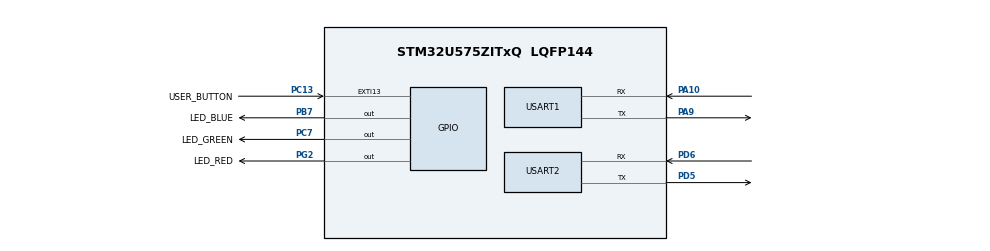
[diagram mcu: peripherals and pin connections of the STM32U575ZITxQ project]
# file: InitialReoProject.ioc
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CORTEX_M33_NS.userName=CORTEX_M33
Mcu.Family=STM32U5
Mcu.Name=STM32U575ZITxQ
Mcu.Package=LQFP144
NVIC.PriorityGroup=NVIC_PRIORITYGROUP_3
NVIC.TIM17_IRQn=true\:7\:0\:false\:false\:true\:false\:true\:true
NVIC.TimeBase=TIM17_IRQn
NVIC.TimeBaseIP=TIM17
NVIC.USART1_IRQn=true\:0\:0\:false\:false\:true\:true\:true\:true
NVIC.USART2_IRQn=true\:0\:0\:false\:false\:true\:true\:true\:true
PA10.Mode=Asynchronous
PA10.Signal=USART1_RX
PA13\ (JTMS/SWDIO).Signal=DEBUG_JTMS-SWDIO
PA14\ (JTCK/SWCLK).Signal=DEBUG_JTCK-SWCLK
PA9.Mode=Asynchronous
PA9.Signal=USART1_TX
PB3\ (JTDO/TRACESWO).Signal=DEBUG_JTDO-SWO
PB7.GPIO_Label=LED_BLUE
PB7.Signal=GPIO_Output
PC13.GPIO_Label=USER_BUTTON
PC13.Signal=GPXTI13
PC14-OSC32_IN\ (PC14).Signal=RCC_OSC32_IN
PC15-OSC32_OUT\ (PC15).Signal=RCC_OSC32_OUT
PC7.GPIO_Label=LED_GREEN
PC7.Signal=GPIO_Output
PD5.Mode=Asynchronous
PD5.Signal=USART2_TX
PD6.Mode=Asynchronous
PD6.Signal=USART2_RX
PG2.GPIO_Label=LED_RED
PG2.Signal=GPIO_Output
PWR.PowerMode=PWR_SMPS_SUPPLY
ProjectManager.HeapSize=0x200
ProjectManager.StackSize=0x400
ProjectManager.TargetToolchain=STM32CubeIDE
RCC.ADCFreq_Value=16000000
RCC.DACCLockSelectionVirtual=RCC_DAC1CLKSOURCE_LSI
RCC.EPOD_VALUE=4000000
RCC.HSE_VALUE=16000000
RCC.HSI48_VALUE=48000000
RCC.HSI_VALUE=16000000
RCC.LSE_VALUE=32768
RCC.LSIDIV_VALUE=32000
RCC.MSI_VALUE=4000000
RCC.USBFreq_Value=48000000
RCC.VCOOutputFreq_Value=516000000
USART1.VirtualMode-Asynchronous=VM_ASYNC
USART2.VirtualMode-Asynchronous=VM_ASYNC
VP_ICACHE_VS_ENABLE_ICACHE_MEMORY.Mode=Memoryregions
VP_ICACHE_VS_ICACHE.Mode=DirectMappedCache
VP_LPBAMQUEUE_VS_QUEUE.Mode=QUEUEMODE
VP_LPBAM_VS_SIG1.Mode=SmartRun
VP_LPBAM_VS_SIG4.Mode=LPDMA1
VP_MEMORYMAP_VS_MEMORYMAP.Mode=CurAppReg
VP_PWR_VS_DBSignals.Mode=DisableDeadBatterySignals
VP_PWR_VS_LPOM.Mode=PowerOptimisation
VP_PWR_VS_SECSignals.Mode=Security/Privilege
VP_SYS_VS_tim17.Mode=TIM17
board=NUCLEO-U575ZI-Q

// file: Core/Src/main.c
/* USER CODE BEGIN Header */
/**
  ******************************************************************************
  * @file           : main.c
  * @brief          : Main program body
  ******************************************************************************
  * @attention
  *
  * Copyright (c) 2026 STMicroelectronics.
  * All rights reserved.
  *
  * This software is licensed under terms that can be found in the LICENSE file
  * in the root directory of this software component.
  * If no LICENSE file comes with this software, it is provided AS-IS.
  *
  ******************************************************************************
  */
/* USER CODE END Header */
#include "main.h"

/* USER CODE BEGIN Includes */
#include <stdlib.h>
#include <string.h>
#include <stdio.h>
#include <stdbool.h>
/* USER CODE END Includes */

UART_HandleTypeDef huart1;
UART_HandleTypeDef huart2;

/* USER CODE BEGIN PV */
#define RX_SIZE 10

uint8_t rxData[RX_SIZE];

volatile uint8_t dataReady = 0;
/* USER CODE END PV */

void SystemClock_Config(void);
static void SystemPower_Config(void);
static void MX_GPIO_Init(void);
static void MX_ICACHE_Init(void);
static void MX_USART2_UART_Init(void);
static void MX_USART1_UART_Init(void);

int main(void)
{

  /* MCU Configuration--------------------------------------------------------*/

  /* Reset of all peripherals, Initializes the Flash interface and the Systick. */
  HAL_Init();

  /* Configure the System Power */
  SystemPower_Config();

  /* Configure the system clock */
  SystemClock_Config();

  /* Initialize all configured peripherals */
  MX_GPIO_Init();
  MX_ICACHE_Init();
  MX_USART2_UART_Init();
  MX_USART1_UART_Init();
  /* USER CODE BEGIN 2 */
  HAL_UART_Receive_IT(&huart2, rxData, 10);

	void clearScreen(){
		HAL_UART_Transmit(&huart1, "\033[2J\033[H", strlen((char*) "\033[2J\033[H"), 10);
	}
  /* USER CODE END 2 */

  /* Infinite loop */
  /* USER CODE BEGIN WHILE */
  while (1)
  {
	  //From interrupt
	  if (dataReady)
	  {
		  //Resets dataReady
	      dataReady = 0;

	      //Sets string to 11 char array because of null terminator
	      char numberString[11];
	      //Intialized txBuffer
	      char txBuffer[64];
	      //Copies rxData to numberString
	      memcpy(numberString, rxData, 10);

	      //Adds a null terminator to end of array because atoi expects it
	      numberString[10] = '\0';

	      //Converts to an int
	      int numberOfHoles = atoi(numberString);

	      //Writes string to txBuffer
	      snprintf(txBuffer, sizeof(txBuffer),
	               "Number of Holes: %d\r\n",
	               numberOfHoles);

	      //Sends Number of Holes to displayed
	      HAL_UART_Transmit(&huart1,
	                        (uint8_t *)txBuffer,
	                        strlen(txBuffer),
	                        HAL_MAX_DELAY);

	      //Resets Receive
	      //
	      HAL_UART_Receive_IT(&huart2, rxData, RX_SIZE);

	      clearScreen();
	  }
    /* USER CODE END WHILE */

  }
}

void SystemClock_Config(void)
{
  RCC_OscInitTypeDef RCC_OscInitStruct = {0};
  RCC_ClkInitTypeDef RCC_ClkInitStruct = {0};

  /** Configure the main internal regulator output voltage
  */
  if (HAL_PWREx_ControlVoltageScaling(PWR_REGULATOR_VOLTAGE_SCALE4) != HAL_OK)
  {
    Error_Handler();
  }

  /** Initializes the CPU, AHB and APB buses clocks
  */
  RCC_OscInitStruct.OscillatorType = RCC_OSCILLATORTYPE_MSI;
  RCC_OscInitStruct.MSIState = RCC_MSI_ON;
  RCC_OscInitStruct.MSICalibrationValue = RCC_MSICALIBRATION_DEFAULT;
  RCC_OscInitStruct.MSIClockRange = RCC_MSIRANGE_4;
  RCC_OscInitStruct.PLL.PLLState = RCC_PLL_NONE;
  if (HAL_RCC_OscConfig(&RCC_OscInitStruct) != HAL_OK)
  {
    Error_Handler();
  }

  /** Initializes the CPU, AHB and APB buses clocks
  */
  RCC_ClkInitStruct.ClockType = RCC_CLOCKTYPE_HCLK|RCC_CLOCKTYPE_SYSCLK
                              |RCC_CLOCKTYPE_PCLK1|RCC_CLOCKTYPE_PCLK2
                              |RCC_CLOCKTYPE_PCLK3;
  RCC_ClkInitStruct.SYSCLKSource = RCC_SYSCLKSOURCE_MSI;
  RCC_ClkInitStruct.AHBCLKDivider = RCC_SYSCLK_DIV1;
  RCC_ClkInitStruct.APB1CLKDivider = RCC_HCLK_DIV1;
  RCC_ClkInitStruct.APB2CLKDivider = RCC_HCLK_DIV1;
  RCC_ClkInitStruct.APB3CLKDivider = RCC_HCLK_DIV1;

  if (HAL_RCC_ClockConfig(&RCC_ClkInitStruct, FLASH_LATENCY_0) != HAL_OK)
  {
    Error_Handler();
  }
}

/**
  * @brief Power Configuration
  * @retval None
  */
static void SystemPower_Config(void)
{
  HAL_PWREx_EnableVddIO2();

  /*
   * Disable the internal Pull-Up in Dead Battery pins of UCPD peripheral
   */
  HAL_PWREx_DisableUCPDDeadBattery();

  /*
   * Switch to SMPS regulator instead of LDO
   */
  if (HAL_PWREx_ConfigSupply(PWR_SMPS_SUPPLY) != HAL_OK)
  {
    Error_Handler();
  }
}

static void MX_ICACHE_Init(void)
{

  /** Enable instruction cache in 1-way (direct mapped cache)
  */
  if (HAL_ICACHE_ConfigAssociativityMode(ICACHE_1WAY) != HAL_OK)
  {
    Error_Handler();
  }
  if (HAL_ICACHE_Enable() != HAL_OK)
  {
    Error_Handler();
  }

}

static void MX_USART1_UART_Init(void)
{

  huart1.Instance = USART1;
  huart1.Init.BaudRate = 115200;
  huart1.Init.WordLength = UART_WORDLENGTH_8B;
  huart1.Init.StopBits = UART_STOPBITS_1;
  huart1.Init.Parity = UART_PARITY_NONE;
  huart1.Init.Mode = UART_MODE_TX_RX;
  huart1.Init.HwFlowCtl = UART_HWCONTROL_NONE;
  huart1.Init.OverSampling = UART_OVERSAMPLING_16;
  huart1.Init.OneBitSampling = UART_ONE_BIT_SAMPLE_DISABLE;
  huart1.Init.ClockPrescaler = UART_PRESCALER_DIV1;
  huart1.AdvancedInit.AdvFeatureInit = UART_ADVFEATURE_NO_INIT;
  if (HAL_UART_Init(&huart1) != HAL_OK)
  {
    Error_Handler();
  }
  if (HAL_UARTEx_SetTxFifoThreshold(&huart1, UART_TXFIFO_THRESHOLD_1_8) != HAL_OK)
  {
    Error_Handler();
  }
  if (HAL_UARTEx_SetRxFifoThreshold(&huart1, UART_RXFIFO_THRESHOLD_1_8) != HAL_OK)
  {
    Error_Handler();
  }
  if (HAL_UARTEx_DisableFifoMode(&huart1) != HAL_OK)
  {
    Error_Handler();
  }

}

static void MX_USART2_UART_Init(void)
{

  huart2.Instance = USART2;
  huart2.Init.BaudRate = 115200;
  huart2.Init.WordLength = UART_WORDLENGTH_8B;
  huart2.Init.StopBits = UART_STOPBITS_1;
  huart2.Init.Parity = UART_PARITY_NONE;
  huart2.Init.Mode = UART_MODE_TX_RX;
  huart2.Init.HwFlowCtl = UART_HWCONTROL_NONE;
  huart2.Init.OverSampling = UART_OVERSAMPLING_16;
  huart2.Init.OneBitSampling = UART_ONE_BIT_SAMPLE_DISABLE;
  huart2.Init.ClockPrescaler = UART_PRESCALER_DIV1;
  huart2.AdvancedInit.AdvFeatureInit = UART_ADVFEATURE_NO_INIT;
  if (HAL_UART_Init(&huart2) != HAL_OK)
  {
    Error_Handler();
  }
  if (HAL_UARTEx_SetTxFifoThreshold(&huart2, UART_TXFIFO_THRESHOLD_1_8) != HAL_OK)
  {
    Error_Handler();
  }
  if (HAL_UARTEx_SetRxFifoThreshold(&huart2, UART_RXFIFO_THRESHOLD_1_8) != HAL_OK)
  {
    Error_Handler();
  }
  if (HAL_UARTEx_DisableFifoMode(&huart2) != HAL_OK)
  {
    Error_Handler();
  }

}

static void MX_GPIO_Init(void)
{
  GPIO_InitTypeDef GPIO_InitStruct = {0};

  /* GPIO Ports Clock Enable */
  __HAL_RCC_GPIOC_CLK_ENABLE();
  __HAL_RCC_GPIOG_CLK_ENABLE();
  __HAL_RCC_GPIOA_CLK_ENABLE();
  __HAL_RCC_GPIOD_CLK_ENABLE();
  __HAL_RCC_GPIOB_CLK_ENABLE();

  /*Configure GPIO pin Output Level */
  HAL_GPIO_WritePin(LED_RED_GPIO_Port, LED_RED_Pin, GPIO_PIN_RESET);

  /*Configure GPIO pin Output Level */
  HAL_GPIO_WritePin(LED_GREEN_GPIO_Port, LED_GREEN_Pin, GPIO_PIN_RESET);

  /*Configure GPIO pin Output Level */
  HAL_GPIO_WritePin(LED_BLUE_GPIO_Port, LED_BLUE_Pin, GPIO_PIN_RESET);

  /*Configure GPIO pin : USER_BUTTON_Pin */
  GPIO_InitStruct.Pin = USER_BUTTON_Pin;
  GPIO_InitStruct.Mode = GPIO_MODE_IT_RISING;
  GPIO_InitStruct.Pull = GPIO_NOPULL;
  HAL_GPIO_Init(USER_BUTTON_GPIO_Port, &GPIO_InitStruct);

  /*Configure GPIO pin : LED_RED_Pin */
  GPIO_InitStruct.Pin = LED_RED_Pin;
  GPIO_InitStruct.Mode = GPIO_MODE_OUTPUT_PP;
  GPIO_InitStruct.Pull = GPIO_NOPULL;
  GPIO_InitStruct.Speed = GPIO_SPEED_FREQ_LOW;
  HAL_GPIO_Init(LED_RED_GPIO_Port, &GPIO_InitStruct);

  /*Configure GPIO pin : LED_GREEN_Pin */
  GPIO_InitStruct.Pin = LED_GREEN_Pin;
  GPIO_InitStruct.Mode = GPIO_MODE_OUTPUT_PP;
  GPIO_InitStruct.Pull = GPIO_NOPULL;
  GPIO_InitStruct.Speed = GPIO_SPEED_FREQ_LOW;
  HAL_GPIO_Init(LED_GREEN_GPIO_Port, &GPIO_InitStruct);

  /*Configure GPIO pin : LED_BLUE_Pin */
  GPIO_InitStruct.Pin = LED_BLUE_Pin;
  GPIO_InitStruct.Mode = GPIO_MODE_OUTPUT_PP;
  GPIO_InitStruct.Pull = GPIO_NOPULL;
  GPIO_InitStruct.Speed = GPIO_SPEED_FREQ_LOW;
  HAL_GPIO_Init(LED_BLUE_GPIO_Port, &GPIO_InitStruct);

}

/* USER CODE BEGIN 4 */
void HAL_UART_RxCpltCallback(UART_HandleTypeDef *huart)
{
    if (huart->Instance == USART2)
    {
        dataReady = 1;
    }
}
/* USER CODE END 4 */

void HAL_TIM_PeriodElapsedCallback(TIM_HandleTypeDef *htim)
{
  if (htim->Instance == TIM17)
  {
    HAL_IncTick();
  }
}

void Error_Handler(void)
{
  __disable_irq();
  while (1)
  {
  }
}
